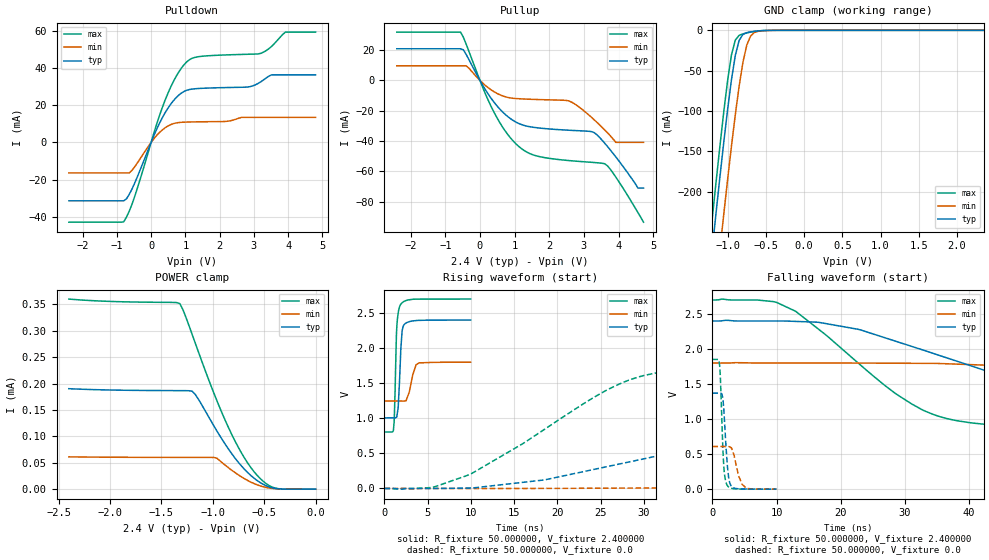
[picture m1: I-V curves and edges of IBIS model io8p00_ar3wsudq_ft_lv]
| [Disclaimer]  This information is for modeling purpose only and is
| not guaranted.
| The information is subject to change without notice.
| [Copyright] Copyright 2017 STMicroelectronics Inc.
| From stm32f7x2_lqfp64.ibs, stm32f7x2_lqfp64, STMicroelectronics
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|   Model io8p00_ar3wsudq_ft_lv
[Model]  io8p00_ar3wsudq_ft_lv
Model_type I/O
Polarity   Non-Inverting
Enable   Active-Low
Vinl =   0.720000V
Vinh =   1.680000V
Vmeas =  1.200000V
Cref =   50.000000pF
Rref =   100.000000M
Vref =   0.0V
C_comp   3.740200pF   3.683500pF   3.822900pF
[Temperature Range]   25.000000   0.125000k   -40.000000
[Pullup Reference]   2.400000V   1.800000V   2.700000V
[Pulldown Reference]   0.0V   0.0V   0.0V
[POWER Clamp Reference]   2.400000V   1.800000V   2.700000V
[GND Clamp Reference]   0.0V   0.0V   0.0V
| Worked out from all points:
|   slope of the pulldown table from 0 to 0.36 V, typ, clamps not added: 25 ohm
|   slope of the pullup table from 0 to 0.36 V, typ, clamps not added: 27.7 ohm
|   GND clamp passes 1 mA (typ) near -0.62 V on its own axis
|   rising waveform, R_fixture 50.000000, V_fixture 2.400000: 20-80 % time 329ps typ, 643ps min, 256ps max; typ from 1.01 V to 2.4 V
|   rising waveform, R_fixture 50.000000, V_fixture 0.0: 20-80 % time 32.3ns typ, 81ns min, 14.8ns max; typ from 0 V to 1.37 V
|   falling waveform, R_fixture 50.000000, V_fixture 2.400000: 20-80 % time 29.1ns typ, 72.5ns min, 15.7ns max; typ from 2.4 V to 1.01 V
|   falling waveform, R_fixture 50.000000, V_fixture 0.0: 20-80 % time 594ps typ, 1.03ns min, 462ps max; typ from 1.37 V to 0 V
[Pulldown]
|Voltage   I(typ)   I(min)   I(max)
-2.4V     -31.47mA   -16.45mA   -43.01mA
-800mV    -31.47mA   -16.45mA   -42.85mA
-480mV    -21.98mA   -13.17mA   -29.21mA
80mV      3.63mA     1.966mA    5.014mA
480mV     18.16mA    8.738mA    26.02mA
800mV     25.38mA    10.72mA    37.77mA
1.12V     28.53mA    11.02mA    44.6mA
2.8V      29.84mA    13.51mA    47.53mA
3.2V      32.66mA    13.51mA    48.04mA
3.52V     36.44mA    13.51mA    51.84mA
3.92V     36.44mA    13.51mA    59.5mA
4.8V      36.44mA    13.51mA    59.5mA
[Pullup]
|Voltage   I(typ)   I(min)   I(max)
-2.4V     20.89mA    9.661mA    31.89mA
-560mV    20.89mA    9.661mA    31.89mA
-400mV    17.28mA    9.661mA    24.06mA
320mV     -11.75mA   -6.207mA   -17.08mA
960mV     -26.47mA   -11.82mA   -40.02mA
1.52V     -30.88mA   -12.51mA   -49.05mA
2.56V     -32.88mA   -13.52mA   -52.9mA
3.28V     -34.25mA   -25.63mA   -54.18mA
3.6V      -41.44mA   -32.74mA   -55.03mA
3.92V     -50.47mA   -40.9mA    -63.79mA
4.56V     -71.1mA    -40.9mA    -87.26mA
4.72V     -71.1mA    -40.9mA    -93.6mA
[GND_clamp]
|Voltage   I(typ)   I(min)   I(max)
-2.4V     -1.43A     -1.515A    -1.4A
-1.25V    -315.9mA   -407.2mA   -278.2mA
-1.2V     -270.1mA   -361.3mA   -232.1mA
-1.15V    -225mA     -316mA     -186.8mA
-1.1V     -180.9mA   -271.3mA   -142.7mA
-1.05V    -138.2mA   -227.5mA   -100.5mA
-950mV    -61.14mA   -143.6mA   -30.43mA
-900mV    -31.23mA   -104.7mA   -12.14mA
-850mV    -12.49mA   -69.4mA    -6.221mA
-750mV    -2.898mA   -18.35mA   -3.18mA
-600mV    -750.2uA   -1.218mA   -738.3uA
2.35V     0A         0A         0A
[POWER_clamp]
|Voltage   I(typ)   I(min)   I(max)
-2.4V     190.2uA    61.19uA    359.9uA
-1.32V    186.6uA    60.14uA    351.2uA
-1.29V    186.5uA    60.13uA    339.6uA
-1.2V     185.4uA    60.11uA    292.6uA
-1.17V    179.2uA    60.11uA    276.3uA
-960mV    110.2uA    58.62uA    167.5uA
-870mV    82.44uA    43.99uA    126.3uA
-750mV    50.58uA    26.92uA    78.64uA
-630mV    25.94uA    13.41uA    41.02uA
-510mV    9.22uA     4.527uA    14.97uA
-420mV    2.425uA    1.38uA     3.75uA
0V        0A         0A         0A
[Ramp]
| variable   typ   min   max
dV/dt_r  0.82206/32.24971n   0.36255/83.54246n   1.11078/14.74251n
dV/dt_f  0.83652/29.04373n   0.32640/73.61923n   1.13720/15.66467n
R_load = 50.000000
[Rising Waveform]
R_fixture= 50.000000
V_fixture= 2.400000
V_fixture_min= 1.800000
V_fixture_max= 2.700000
|time   V(typ)   V(min)   V(max)
0s        1.006V     1.247V     804.6mV
1.041ns   1.006V     1.247V     830.9mV
1.141ns   1.006V     1.247V     1.004V
1.421ns   1.019V     1.247V     2.284V
1.602ns   1.185V     1.247V     2.511V
1.882ns   1.947V     1.247V     2.624V
2.042ns   2.24V      1.246V     2.647V
2.182ns   2.315V     1.245V     2.66V
4.024ns   2.396V     1.79V      2.699V
9.97ns    2.4V       1.8V       2.7V
[Rising Waveform]
R_fixture= 50.000000
V_fixture= 0.0
V_fixture_min= 0.0
V_fixture_max= 0.0
|time   V(typ)   V(min)   V(max)
0s        6.447nV    361.2nV    2.755nV
5.506ns   -210.6uV   -120.4uV   13.13mV
9.51ns    5.653mV    -62.13uV   182.9mV
27.03ns   344.6mV    4.862mV    1.481V
32.53ns   492mV      9.434mV    1.676V
38.04ns   657.6mV    26.44mV    1.755V
64.06ns   1.222V     114.3mV    1.839V
79.08ns   1.313V     188.9mV    1.849V
148.1ns   1.368V     493mV      1.852V
249.2ns   1.37V      609.1mV    1.852V
[Falling Waveform]
R_fixture= 50.000000
V_fixture= 2.400000
V_fixture_min= 1.800000
V_fixture_max= 2.700000
|time   V(typ)   V(min)   V(max)
0s        2.4V       1.8V       2.7V
10.01ns   2.4V       1.8V       2.665V
13.01ns   2.394V     1.8V       2.536V
22.52ns   2.285V     1.8V       1.816V
31.53ns   2.024V     1.796V     1.192V
44.54ns   1.631V     1.763V     906.6mV
58.56ns   1.265V     1.718V     851.8mV
83.58ns   1.084V     1.58V      819.9mV
176.2ns   1.01V      1.276V     804.5mV
249.2ns   1.006V     1.247V     804.6mV
[Falling Waveform]
R_fixture= 50.000000
V_fixture= 0.0
V_fixture_min= 0.0
V_fixture_max= 0.0
|time   V(typ)   V(min)   V(max)
0s        1.37V      609.1mV    1.852V
1.141ns   1.37V      609.1mV    1.762V
1.722ns   1.207V     608.8mV    417.6mV
1.942ns   892.4mV    608.5mV    181.3mV
2.302ns   378.9mV    609.6mV    56.32mV
2.543ns   165.5mV    609.2mV    30.25mV
2.943ns   44.91mV    591.9mV    13.19mV
4.104ns   4.992mV    186.7mV    2.606mV
5.285ns   1.442mV    14.22mV    758.7uV
9.97ns    6.447nV    361.2nV    2.755nV
